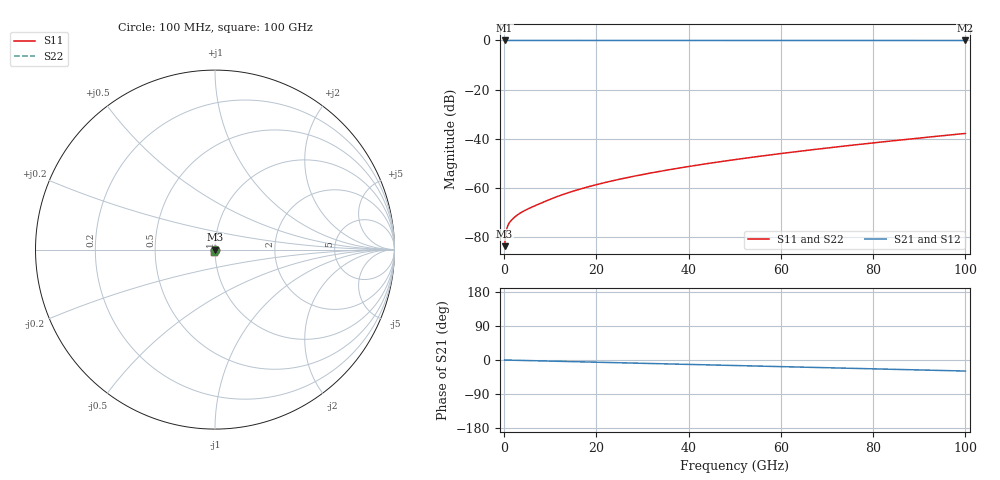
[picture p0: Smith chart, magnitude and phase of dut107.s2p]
! Touchstone file exported from HFSS 2026.1.0
!  File:  C:/ffzhzh/LocalFiles/Ansys_Project_Files/temp_train_TSV_107_1783505884_55944.aedt
!  Generated:  06:19:11 PM Jul  8, 2026
!  Design:  TSV
!  Project:  temp_train_TSV_107_1783505884_55944
! Variables:
!  h_bsmrdl = 2um
!  h_ox = 20um
!  h_rdl = 5um
!  h_sub = 53.18um
!  h_tmrdl = 5um
!  h_tsv = 53.18um
!  h_via = 3um
!  l_bsmrdl = 300um
!  l_sub = 427.12um
!  l_tmrdl = 200um
!  m_sub = 200um
!  pitch = 53.05um
!  r_tsv = 13.56um
!  s_tmrdl = 10um
!  w_bsmrdl = 18um
!  w_sub = 500um
!  w_tmrdl = 12um
!  x_tsv_center1 = 206um
!  x_tsv_center2 = 524um
!  x_tsv_center3 = 736um
!  x_tsv_center4 = 1054um
!  x_tsv_center5 = 1266um
!  x_tsv_center6 = 1584um
# GHz S MA R 50.000000
! Terminal data exported
! Port[1] = TSV1_1_T1
! Port[2] = TSV1_1_T2
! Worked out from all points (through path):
!   1000 points, 100 MHz to 100 GHz, reference 50 ohm
!   highest |S21| = 0.00 dB at 100 MHz (marker M1); lowest = 0.0 dB at 100 GHz (marker M2)
!   group delay of S21, straight-line fit = 808 fs
!   lowest |S11| = -83.5 dB at 100 MHz (marker M3), VSWR 1.00, Z = 50 + j0.0024 ohm
!   |S11| at or under -10 dB: start of sweep to end of sweep
!   |S22| runs from -83.5 to -37.8 dB; largest |S21 - S12| = 1.8e-15
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0.1  6.65e-05 21.2  0.9999 -0.0  0.9999 -0.0  6.65e-05 21.2
! Gamma 0 0 0 0
! Port Impedance 50 0 50 0
0.4  0.0001237 35.8  0.9999 -0.1  0.9999 -0.1  0.0001237 35.8
0.9  0.0001827 28.3  0.9998 -0.3  0.9998 -0.3  0.0001827 28.3
1.1  0.000197 25.8  0.9998 -0.3  0.9998 -0.3  0.000197 25.8
1.3  0.0002093 23.6  0.9998 -0.4  0.9998 -0.4  0.0002092 23.7
1.7  0.0002308 20.1  0.9998 -0.5  0.9998 -0.5  0.0002307 20.1
2.2  0.0002553 16.1  0.9998 -0.6  0.9998 -0.6  0.0002552 16.1
2.9  0.0002873 10.6  0.9997 -0.9  0.9997 -0.9  0.0002872 10.6
3.6  0.0003172 5.2  0.9997 -1.1  0.9997 -1.1  0.0003171 5.2
5.8  0.0004047 -10.1  0.9996 -1.7  0.9996 -1.7  0.0004045 -10.1
10.4  0.0006182 -31.5  0.9995 -3.0  0.9995 -3.0  0.0006174 -31.6
13.4  0.0007811 -40.9  0.9994 -3.9  0.9994 -3.9  0.0007799 -41.0
16.8  0.0009801 -49.4  0.9993 -4.9  0.9993 -4.9  0.0009784 -49.5
20.3  0.0012 -56.2  0.9992 -5.9  0.9992 -5.9  0.001198 -56.4
24.2  0.001463 -62.4  0.9992 -7.0  0.9992 -7.0  0.00146 -62.5
28.6  0.001785 -68.0  0.9991 -8.3  0.9991 -8.3  0.001782 -68.2
33.4  0.002169 -73.1  0.999 -9.7  0.999 -9.7  0.002165 -73.3
41.2  0.002874 -79.9  0.9989 -11.9  0.9989 -11.9  0.002869 -80.2
50.1  0.003815 -86.4  0.9988 -14.5  0.9988 -14.5  0.003808 -86.7
66.7  0.006023 -96.5  0.9985 -19.4  0.9985 -19.4  0.006015 -96.9
83.4  0.00899 -105.1  0.9983 -24.2  0.9983 -24.2  0.008981 -105.4
100  0.01294 -112.8  0.998 -29.1  0.998 -29.1  0.01293 -113.1
